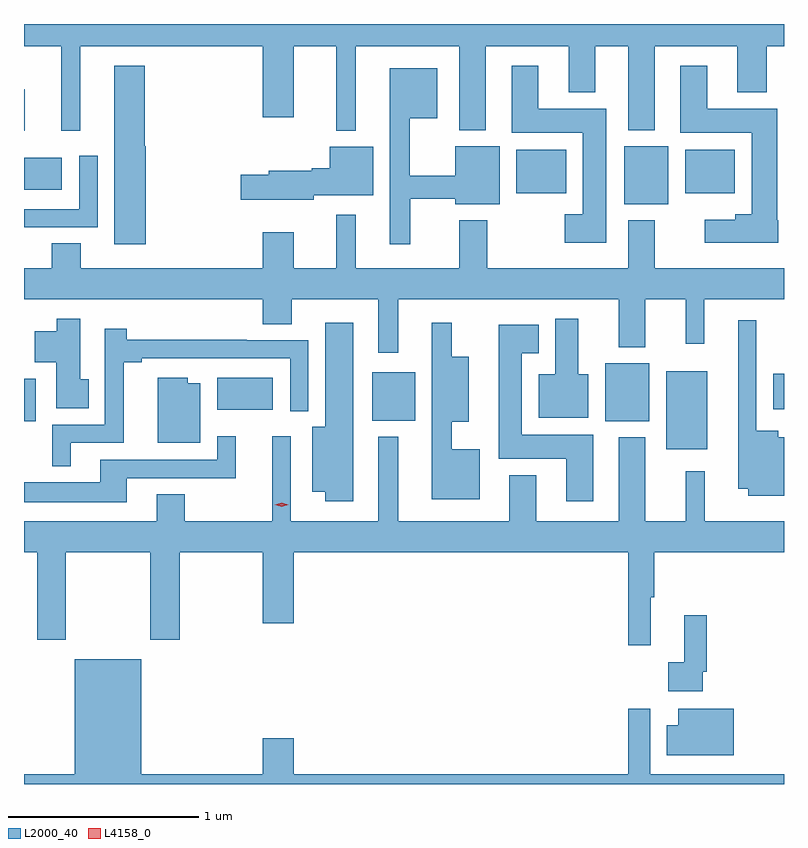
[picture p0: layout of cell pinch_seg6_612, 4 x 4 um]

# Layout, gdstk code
import gdstk
lib = gdstk.Library(unit=1e-6, precision=1e-09)
def R(c, l, rs):  # rectangles x0, y0, x1, y1
    for r in rs: c.add(gdstk.rectangle(r[:2], r[2:], *l))
def P(c, l, *ps):  # polygons
    for p in ps: c.add(gdstk.Polygon(p, *l))
L2000_40 = (2000, 40)
L4158_0 = (4158, 0)

pinch_seg6_612 = lib.new_cell('pinch_seg6_612')
R(pinch_seg6_612, L2000_40, [(490.808,962.531,491.023,962.941), (487.428,962.678,487.489,962.902), (490.487,962.678,490.72,962.983), (489.26,962.681,489.487,962.935), (488.444,962.738,488.737,962.908), (491.372,962.741,491.428,962.929), (490.586,963.821,490.819,964.126), (490.019,963.878,490.282,964.108), (490.907,963.878,491.17,964.108), (487.428,963.896,487.627,964.066), (487.428,964.206,487.433,964.425)])
P(pinch_seg6_612, L2000_40, [(487.428,964.652),(487.625,964.652),(487.625,964.206),(487.724,964.206),(487.724,964.652),(488.684,964.652),(488.684,964.278),(488.848,964.278),(488.848,964.652),(489.071,964.652),(489.071,964.208),(489.175,964.208),(489.175,964.652),(489.719,964.652),(489.719,964.211),(489.859,964.211),(489.859,964.652),(490.295,964.652),(490.295,964.409),(490.435,964.409),(490.435,964.652),(490.607,964.652),(490.607,964.211),(490.747,964.211),(490.747,964.652),(491.183,964.652),(491.183,964.409),(491.336,964.409),(491.336,964.652),(491.428,964.652),(491.428,964.769),(487.428,964.769)],
  [(490.492,964.324),(490.135,964.324),(490.135,964.549),(489.995,964.549),(489.995,964.196),(490.37,964.196),(490.37,963.769),(490.275,963.769),(490.275,963.617),(490.492,963.617)],
  [(491.398,963.735),(491.393,963.735),(491.393,964.324),(491.023,964.324),(491.023,964.549),(490.883,964.549),(490.883,964.196),(491.258,964.196),(491.258,963.769),(491.171,963.769),(491.171,963.739),(491.01,963.739),(491.01,963.617),(491.398,963.617)],
  [(488.068,964.125),(488.063,964.125),(488.063,964.549),(487.904,964.549),(487.904,963.609),(488.068,963.609)],
  [(489.46,963.849),(489.698,963.849),(489.698,963.821),(489.931,963.821),(489.931,964.126),(489.698,964.126),(489.698,963.97),(489.457,963.97),(489.457,964.274),(489.604,964.274),(489.604,964.537),(489.353,964.537),(489.353,963.609),(489.46,963.609)],
  [(488.952,963.869),(489.265,963.869),(489.265,964.123),(489.038,964.123),(489.038,964.01),(488.942,964.01),(488.942,963.997),(488.717,963.997),(488.717,963.975),(488.568,963.975),(488.568,963.845),(488.952,963.845)],
  [(487.49,963.699),(487.815,963.699),(487.815,964.075),(487.719,964.075),(487.719,963.795),(487.428,963.795),(487.428,963.698),(487.49,963.698)],
  [(489.397,963.32),(490.559,963.32),(490.559,963.068),(490.699,963.068),(490.699,963.32),(490.91,963.32),(490.91,963.087),(491.009,963.087),(491.009,963.32),(491.428,963.32),(491.428,963.484),(490.747,963.484),(490.747,963.736),(490.607,963.736),(490.607,963.484),(489.867,963.484),(489.867,963.736),(489.719,963.736),(489.719,963.484),(489.175,963.484),(489.175,963.766),(489.071,963.766),(489.071,963.484),(488.848,963.484),(488.848,963.673),(488.684,963.673),(488.684,963.484),(487.726,963.484),(487.726,963.614),(487.574,963.614),(487.574,963.484),(487.428,963.484),(487.428,963.32),(488.684,963.32),(488.684,963.19),(488.836,963.19),(488.836,963.32),(489.293,963.32),(489.293,963.039),(489.397,963.039)],
  [(487.769,962.898),(487.723,962.898),(487.723,963.217),(487.601,963.217),(487.601,963.151),(487.484,963.151),(487.484,962.99),(487.598,962.99),(487.598,962.746),(487.769,962.746)],
  [(490.399,962.926),(490.345,962.926),(490.345,963.217),(490.223,963.217),(490.223,962.926),(490.136,962.926),(490.136,962.696),(490.399,962.696)],
  [(491.428,962.593),(491.398,962.593),(491.398,962.629),(491.283,962.629),(491.283,963.211),(491.186,963.211),(491.186,962.324),(491.24,962.324),(491.24,962.285),(491.428,962.285)],
  [(489.16,963.196),(489.014,963.196),(489.014,962.65),(488.945,962.65),(488.945,962.306),(489.014,962.306),(489.014,962.256),(489.16,962.256)],
  [(489.826,962.53),(489.679,962.53),(489.679,962.675),(489.769,962.675),(489.769,963.019),(489.679,963.019),(489.679,963.196),(489.575,963.196),(489.575,962.267),(489.826,962.267)],
  [(490.423,962.608),(490.048,962.608),(490.048,963.035),(490.138,963.035),(490.138,963.187),(489.926,963.187),(489.926,962.48),(490.283,962.48),(490.283,962.256),(490.423,962.256)],
  [(487.675,962.565),(487.952,962.565),(487.952,962.989),(488.047,962.989),(488.047,963.009),(488.829,963.009),(488.829,962.73),(488.925,962.73),(488.925,963.105),(488.6,963.105),(488.6,963.107),(487.97,963.107),(487.97,963.166),(487.854,963.166),(487.854,962.661),(487.577,962.661),(487.577,962.441),(487.675,962.441)],
  [(488.356,962.878),(488.29,962.878),(488.29,962.908),(488.132,962.908),(488.132,962.564),(488.356,962.564)],
  [(487.969,962.379),(488.543,962.379),(488.543,962.599),(488.445,962.599),(488.445,962.475),(487.829,962.475),(487.829,962.356),(487.428,962.356),(487.428,962.252),(487.969,962.252)],
  [(490.727,961.752),(490.745,961.752),(490.745,961.988),(491.428,961.988),(491.428,962.152),(491.01,962.152),(491.01,962.416),(490.91,962.416),(490.91,962.152),(490.699,962.152),(490.699,962.593),(490.559,962.593),(490.559,962.152),(490.123,962.152),(490.123,962.395),(489.983,962.395),(489.983,962.152),(489.397,962.152),(489.397,962.596),(489.293,962.596),(489.293,962.152),(488.832,962.152),(488.832,962.599),(488.735,962.599),(488.735,962.152),(488.274,962.152),(488.274,962.294),(488.126,962.294),(488.126,962.152),(487.428,962.152),(487.428,961.988),(487.499,961.988),(487.499,961.527),(487.647,961.527),(487.647,961.988),(488.092,961.988),(488.092,961.527),(488.247,961.527),(488.247,961.988),(488.684,961.988),(488.684,961.614),(488.848,961.614),(488.848,961.988),(490.609,961.988),(490.609,961.5),(490.727,961.5)],
  [(491.001,961.36),(491.021,961.36),(491.021,961.657),(490.904,961.657),(490.904,961.409),(490.818,961.409),(490.818,961.256),(491.001,961.256)],
  [(488.848,961.009),(488.684,961.009),(488.684,960.82),(488.044,960.82),(488.044,961.426),(487.694,961.426),(487.694,960.82),(487.428,960.82),(487.428,960.769),(491.428,960.769),(491.428,960.82),(490.725,960.82),(490.725,961.165),(490.609,961.165),(490.609,960.82),(488.848,960.82)],
  [(491.164,961.165),(490.871,961.165),(490.871,961.078),(490.81,961.078),(490.81,960.92),(491.164,960.92)])
P(pinch_seg6_612, L4158_0, [(488.784,962.229),(488.749,962.239),(488.749,962.239),(488.749,962.239),(488.784,962.249),(488.819,962.239),(488.819,962.239),(488.819,962.239)])

lib.write_gds('pinch_seg6_612.gds')
